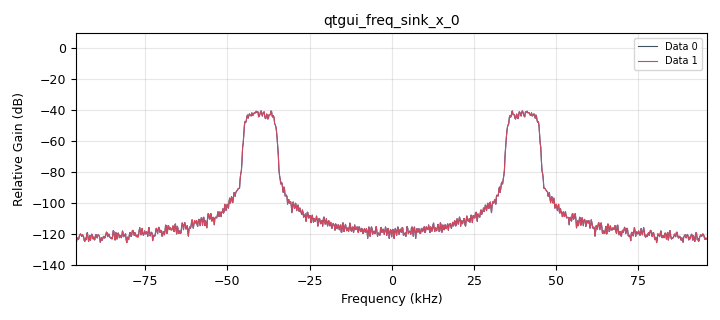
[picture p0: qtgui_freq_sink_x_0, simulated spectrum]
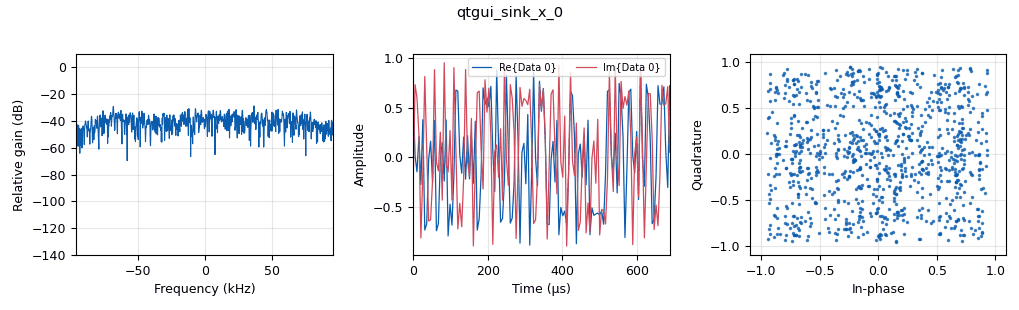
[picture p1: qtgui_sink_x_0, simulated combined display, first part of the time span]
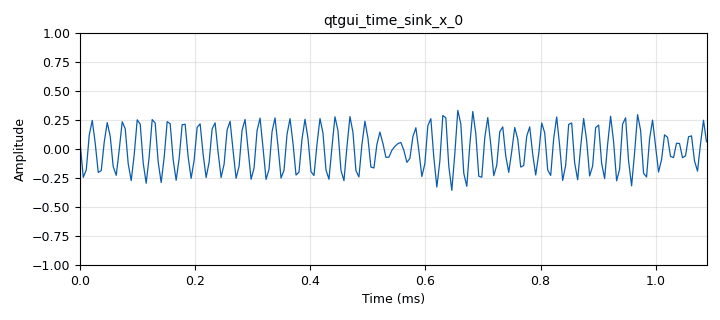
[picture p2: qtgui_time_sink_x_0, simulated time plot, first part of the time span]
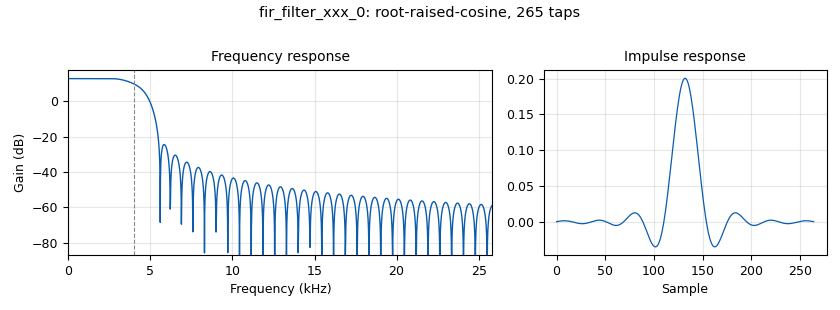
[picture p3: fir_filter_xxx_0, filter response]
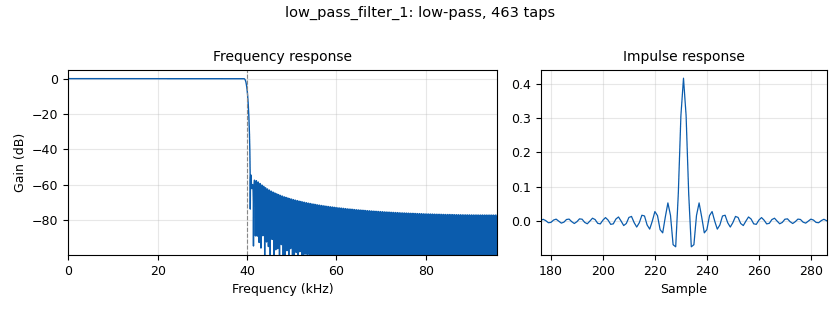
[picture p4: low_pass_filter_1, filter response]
options:
  parameters:
    author: YASH
    generate_options: qt_gui
    id: phase_offset
    output_language: python
    title: Not titled yet
  states: {}

blocks:
- name: delay
  id: variable_qtgui_range
  parameters:
    rangeType: int
    start: '0'
    step: '1'
    stop: sps
    value: '0'
  states: {}
- name: my_const
  id: variable_constellation
  parameters:
    const_points: '[-1-1j, -1+1j, 1+1j, 1-1j]'
    dims: '1'
    normalization: digital.constellation.AMPLITUDE_NORMALIZATION
    precision: '8'
    rot_sym: '4'
    sym_map: '[0, 1, 3, 2]'
    type: calcdist
  states: {}
- name: noise_std
  id: variable_qtgui_range
  parameters:
    start: '0'
    step: '0.01'
    stop: '1'
    value: '0'
  states: {}
- name: phase_offset_1
  id: variable_qtgui_range
  parameters:
    start: '0'
    step: '1'
    stop: '180'
    value: '0'
  states: {}
- name: rrc_taps
  id: variable_rrc_filter_taps
  parameters:
    alpha: '0.35'
    gain: '4.41'
    ntaps: 11*sps
    samp_rate: samp_rate
    sym_rate: '8000'
  states: {}
- name: samp_rate
  id: variable
  parameters:
    value: '192000'
  states: {}
- name: sps
  id: variable
  parameters:
    value: samp_rate // 8000
  states: {}
- name: analog_noise_source_x_0
  id: analog_noise_source_x
  parameters:
    amp: noise_std
    noise_type: analog.GR_GAUSSIAN
    seed: '0'
    type: float
  states: {}
- name: analog_random_source_x_0
  id: analog_random_source_x
  parameters:
    max: '4'
    min: '0'
    num_samps: '1000'
    repeat: 'True'
    type: byte
  states: {}
- name: analog_sig_source_x_0
  id: analog_sig_source_x
  parameters:
    amp: '1.414'
    freq: '40000'
    offset: '0'
    phase: '0'
    samp_rate: samp_rate
    type: complex
    waveform: analog.GR_COS_WAVE
  states: {}
- name: analog_sig_source_x_0_0
  id: analog_sig_source_x
  parameters:
    amp: '1.414'
    freq: '40000'
    offset: '0'
    phase: phase_offset_1
    samp_rate: samp_rate
    type: float
    waveform: analog.GR_COS_WAVE
  states: {}
- name: analog_sig_source_x_0_0_0
  id: analog_sig_source_x
  parameters:
    amp: '-1.414'
    freq: '40000'
    offset: '0'
    phase: phase_offset_1
    samp_rate: samp_rate
    type: float
    waveform: analog.GR_SIN_WAVE
  states: {}
- name: blocks_add_xx_0
  id: blocks_add_xx
  parameters:
    type: float
  states: {}
- name: blocks_complex_to_real_0
  id: blocks_complex_to_real
  parameters: {}
  states: {}
- name: blocks_delay_0
  id: blocks_delay
  parameters:
    delay: delay
    type: complex
  states: {}
- name: blocks_float_to_complex_0
  id: blocks_float_to_complex
  parameters: {}
  states: {}
- name: blocks_multiply_xx_0
  id: blocks_multiply_xx
  parameters:
    type: complex
  states: {}
- name: blocks_multiply_xx_1
  id: blocks_multiply_xx
  parameters:
    type: float
  states: {}
- name: blocks_multiply_xx_1_0
  id: blocks_multiply_xx
  parameters:
    type: float
  states: {}
- name: blocks_throttle2_0
  id: blocks_throttle2
  parameters:
    samples_per_second: samp_rate
    type: complex
  states: {}
- name: digital_constellation_encoder_bc_0
  id: digital_constellation_encoder_bc
  parameters:
    constellation: my_const
  states: {}
- name: fir_filter_xxx_0
  id: fir_filter_xxx
  parameters:
    decim: sps
    taps: rrc_taps
    type: ccc
  states: {}
- name: interp_fir_filter_xxx_0
  id: interp_fir_filter_xxx
  parameters:
    interp: sps
    taps: rrc_taps
    type: ccc
  states: {}
- name: low_pass_filter_1
  id: low_pass_filter
  parameters:
    cutoff_freq: '40000'
    decim: '1'
    gain: '1'
    samp_rate: samp_rate
    type: fir_filter_fff
    width: '1000'
    win: window.WIN_HAMMING
  states: {}
- name: low_pass_filter_1_0
  id: low_pass_filter
  parameters:
    cutoff_freq: '40000'
    decim: '1'
    gain: '1'
    samp_rate: samp_rate
    type: fir_filter_fff
    width: '1000'
    win: window.WIN_HAMMING
  states: {}
- name: qtgui_freq_sink_x_0
  id: qtgui_freq_sink_x
  parameters:
    average: '0.05'
    bw: samp_rate
    fc: '0'
    fftsize: '1024'
    nconnections: '2'
    type: float
  states: {}
- name: qtgui_sink_x_0
  id: qtgui_sink_x
  parameters:
    bw: samp_rate
    fc: '0'
    fftsize: '1024'
    type: complex
  states: {}
- name: qtgui_time_sink_x_0
  id: qtgui_time_sink_x
  parameters:
    size: '1024'
    srate: samp_rate
    type: float
  states: {}
- name: virtual_sink_0
  id: virtual_sink
  parameters:
    stream_id: passband
  states: {}
- name: virtual_source_0
  id: virtual_source
  parameters:
    stream_id: passband
  states: {}

connections:
- [analog_noise_source_x_0, '0', blocks_add_xx_0, '1']
- [analog_random_source_x_0, '0', digital_constellation_encoder_bc_0, '0']
- [analog_sig_source_x_0, '0', blocks_multiply_xx_0, '1']
- [analog_sig_source_x_0_0, '0', blocks_multiply_xx_1, '0']
- [analog_sig_source_x_0_0_0, '0', blocks_multiply_xx_1_0, '1']
- [blocks_add_xx_0, '0', qtgui_freq_sink_x_0, '1']
- [blocks_add_xx_0, '0', qtgui_time_sink_x_0, '0']
- [blocks_add_xx_0, '0', virtual_sink_0, '0']
- [blocks_complex_to_real_0, '0', blocks_add_xx_0, '0']
- [blocks_complex_to_real_0, '0', qtgui_freq_sink_x_0, '0']
- [blocks_delay_0, '0', fir_filter_xxx_0, '0']
- [blocks_float_to_complex_0, '0', blocks_delay_0, '0']
- [blocks_multiply_xx_0, '0', blocks_complex_to_real_0, '0']
- [blocks_multiply_xx_1, '0', low_pass_filter_1, '0']
- [blocks_multiply_xx_1_0, '0', low_pass_filter_1_0, '0']
- [blocks_throttle2_0, '0', interp_fir_filter_xxx_0, '0']
- [digital_constellation_encoder_bc_0, '0', blocks_throttle2_0, '0']
- [fir_filter_xxx_0, '0', qtgui_sink_x_0, '0']
- [interp_fir_filter_xxx_0, '0', blocks_multiply_xx_0, '0']
- [low_pass_filter_1, '0', blocks_float_to_complex_0, '0']
- [low_pass_filter_1_0, '0', blocks_float_to_complex_0, '1']
- [virtual_source_0, '0', blocks_multiply_xx_1, '1']
- [virtual_source_0, '0', blocks_multiply_xx_1_0, '0']

metadata:
  file_format: 1
  grc_version: 3.10.7.0
